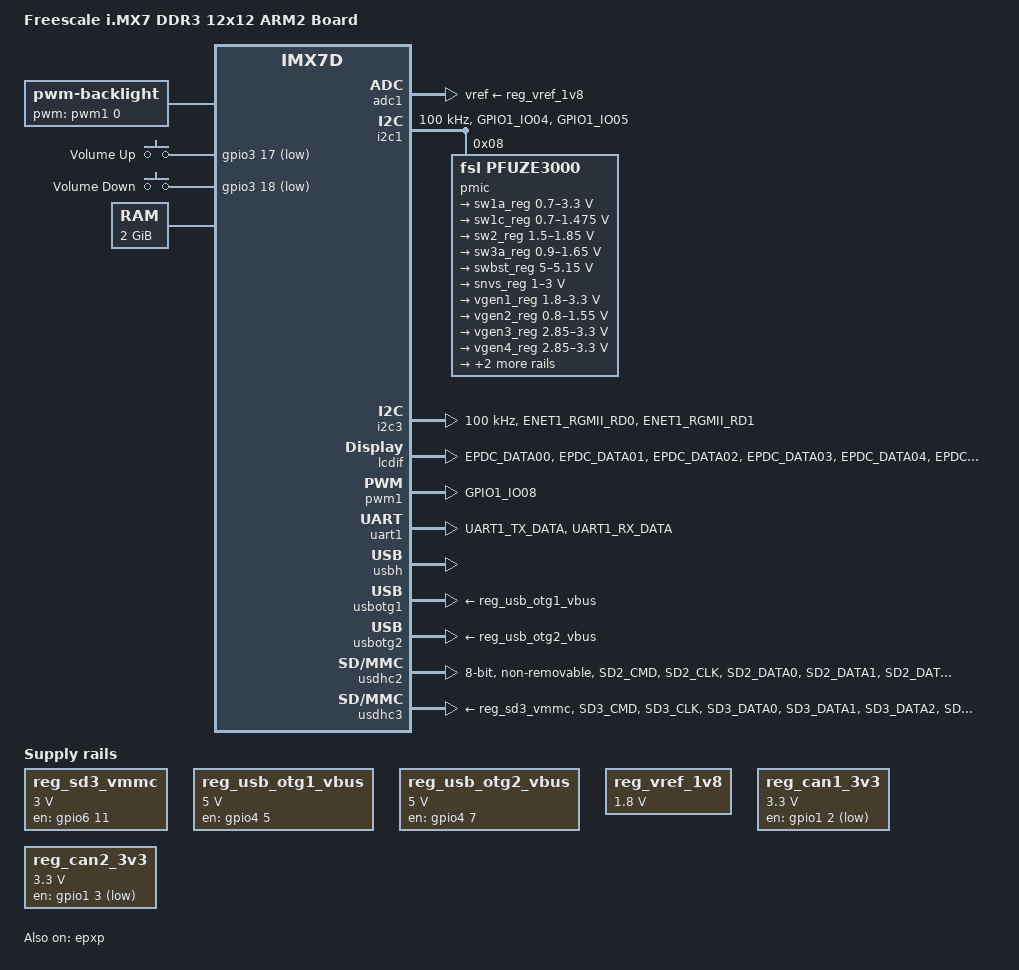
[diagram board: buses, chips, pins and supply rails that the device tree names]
/*
 * Copyright (C) 2015 Freescale Semiconductor, Inc.
 *
 * This program is free software; you can redistribute it and/or modify
 * it under the terms of the GNU General Public License version 2 as
 * published by the Free Software Foundation.
 */

/dts-v1/;

#include <dt-bindings/input/input.h>
#include "imx7d.dtsi"

/ {
	model = "Freescale i.MX7 DDR3 12x12 ARM2 Board";
	compatible = "fsl,imx7d-12x12-ddr3-arm2", "fsl,imx7d";

	backlight {
		compatible = "pwm-backlight";
		pwms = <&pwm1 0 5000000>;
		brightness-levels = <0 4 8 16 32 64 128 255>;
		default-brightness-level = <6>;
		status = "okay";
	};

	gpio-keys {
		compatible = "gpio-keys";
		pinctrl-names = "default";
		pinctrl-0 = <&pinctrl_gpio_keys>;

		volume-up {
			label = "Volume Up";
			gpios = <&gpio3 17 GPIO_ACTIVE_LOW>;
			linux,code = <KEY_VOLUMEUP>;
		};

		volume-down {
			label = "Volume Down";
			gpios = <&gpio3 18 GPIO_ACTIVE_LOW>;
			linux,code = <KEY_VOLUMEDOWN>;
		};
	};

	pxp_v4l2_out {
		compatible = "fsl,imx7d-pxp-v4l2", "fsl,imx6sx-pxp-v4l2", "fsl,imx6sl-pxp-v4l2";
		status = "okay";
	};

	regulators {
		compatible = "simple-bus";
		#address-cells = <1>;
		#size-cells = <0>;

		reg_sd3_vmmc: sd3_vmmc {
			compatible = "regulator-fixed";
			regulator-name = "VCC_SD3";
			regulator-min-microvolt = <3000000>;
			regulator-max-microvolt = <3000000>;
			gpio = <&gpio6 11 GPIO_ACTIVE_HIGH>;
			enable-active-high;
		};

		reg_usb_otg1_vbus: regulator@0 {
			compatible = "regulator-fixed";
			reg = <0>;
			regulator-name = "usb_otg1_vbus";
			regulator-min-microvolt = <5000000>;
			regulator-max-microvolt = <5000000>;
			gpio = <&gpio4 5 GPIO_ACTIVE_HIGH>;
			enable-active-high;
		};

		reg_usb_otg2_vbus: regulator@1 {
			compatible = "regulator-fixed";
			reg = <1>;
			regulator-name = "usb_otg2_vbus";
			regulator-min-microvolt = <5000000>;
			regulator-max-microvolt = <5000000>;
			gpio = <&gpio4 7 GPIO_ACTIVE_HIGH>;
			enable-active-high;
		};

		reg_vref_1v8: regulator@2 {
			compatible = "regulator-fixed";
			regulator-name = "vref-1v8";
			regulator-min-microvolt = <1800000>;
			regulator-max-microvolt = <1800000>;
		};

		reg_can1_3v3: can1-3v3 {
			compatible = "regulator-fixed";
			regulator-name = "can1-3v3";
			regulator-min-microvolt = <3300000>;
			regulator-max-microvolt = <3300000>;
			gpio = <&gpio1 2 GPIO_ACTIVE_LOW>;
		};

		reg_can2_3v3: can2-3v3 {
			compatible = "regulator-fixed";
			regulator-name = "can2-3v3";
			regulator-min-microvolt = <3300000>;
			regulator-max-microvolt = <3300000>;
			gpio = <&gpio1 3 GPIO_ACTIVE_LOW>;
		};
	};

	memory {
		reg = <0x80000000 0x80000000>;
	};
};

&adc1 {
	vref-supply = <&reg_vref_1v8>;
	status = "okay";
};

&cpu0 {
	arm-supply = <&sw1a_reg>;
};

&ecspi4 {
	fsl,spi-num-chipselects = <4>;
	cs-gpios = <&gpio5 3 0>, <&gpio5 4 0>, <&gpio5 5 0>, <&gpio5 6 0>;
	pinctrl-names = "default";
	pinctrl-0 = <&pinctrl_ecspi4_1 &pinctrl_ecspi4_cs_1>;
	status = "disabled";

	flash: m25p80@0 {
		#address-cells = <1>;
		#size-cells = <1>;
		compatible = "st,m25p32";
		spi-max-frequency = <20000000>;
		reg = <0>;
	};
};

&epxp {
	status = "okay";
};

&flexcan1 {
	pinctrl-names = "default";
	pinctrl-0 = <&pinctrl_flexcan1>;
	xceiver-supply = <&reg_can1_3v3>;
	status = "disabled";
};

&flexcan2 {
	pinctrl-names = "default";
	pinctrl-0 = <&pinctrl_flexcan2>;
	xceiver-supply = <&reg_can2_3v3>;
	status = "disabled";
};

&i2c1 {
	clock-frequency = <100000>;
	pinctrl-names = "default";
	pinctrl-0 = <&pinctrl_i2c1_1>;
	status = "okay";

	pmic: pfuze3000@08 {
		compatible = "fsl,pfuze3000";
		reg = <0x08>;

		regulators {
			sw1a_reg: sw1a {
				regulator-min-microvolt = <700000>;
				regulator-max-microvolt = <3300000>;
				regulator-boot-on;
				regulator-always-on;
				regulator-ramp-delay = <6250>;
			};
			/* use sw1c_reg to align with pfuze100/pfuze200 */
			sw1c_reg: sw1b {
				regulator-min-microvolt = <700000>;
				regulator-max-microvolt = <1475000>;
				regulator-boot-on;
				regulator-always-on;
				regulator-ramp-delay = <6250>;
			};

			sw2_reg: sw2 {
				regulator-min-microvolt = <1500000>;
				regulator-max-microvolt = <1850000>;
				regulator-boot-on;
				regulator-always-on;
			};

			sw3a_reg: sw3 {
				regulator-min-microvolt = <900000>;
				regulator-max-microvolt = <1650000>;
				regulator-boot-on;
				regulator-always-on;
			};

			swbst_reg: swbst {
				regulator-min-microvolt = <5000000>;
				regulator-max-microvolt = <5150000>;
			};

			snvs_reg: vsnvs {
				regulator-min-microvolt = <1000000>;
				regulator-max-microvolt = <3000000>;
				regulator-boot-on;
				regulator-always-on;
			};

			vref_reg: vrefddr {
				regulator-boot-on;
				regulator-always-on;
			};

			vgen1_reg: vldo1 {
				regulator-min-microvolt = <1800000>;
				regulator-max-microvolt = <3300000>;
				regulator-always-on;
			};

			vgen2_reg: vldo2 {
				regulator-min-microvolt = <800000>;
				regulator-max-microvolt = <1550000>;
			};

			vgen3_reg: vccsd {
				regulator-min-microvolt = <2850000>;
				regulator-max-microvolt = <3300000>;
				regulator-always-on;
			};

			vgen4_reg: v33 {
				regulator-min-microvolt = <2850000>;
				regulator-max-microvolt = <3300000>;
				regulator-always-on;
			};

			vgen5_reg: vldo3 {
				regulator-min-microvolt = <1800000>;
				regulator-max-microvolt = <3300000>;
				regulator-always-on;
			};

			vgen6_reg: vldo4 {
				regulator-min-microvolt = <1800000>;
				regulator-max-microvolt = <3300000>;
				regulator-always-on;
			};
		};
	};
};

&i2c3 {
	clock-frequency = <100000>;
	pinctrl-names = "default";
	pinctrl-0 = <&pinctrl_i2c3_1>;
	status = "okay";
};

&iomuxc {
	pinctrl-names = "default";
	pinctrl-0 = <&pinctrl_hog_1>;

	imx7d-12x12-ddr3-arm2 {
		pinctrl_hog_1: hoggrp-1 {
			fsl,pins = <
				MX7D_PAD_GPIO1_IO14__GPIO1_IO14 	0x59
				MX7D_PAD_GPIO1_IO15__GPIO1_IO15 	0x59
				MX7D_PAD_SD2_RESET_B__GPIO5_IO11 	0x59
			>;
		};

		pinctrl_ecspi4_cs_1: ecspi4_cs_grp-1 {
			fsl,pins = <
				MX7D_PAD_SD1_CLK__GPIO5_IO3 	0x2
				MX7D_PAD_SD1_CMD__GPIO5_IO4 	0x2
				MX7D_PAD_SD1_DATA0__GPIO5_IO5 	0x2
				MX7D_PAD_SD1_DATA1__GPIO5_IO6 	0x2
			>;
		};

		pinctrl_ecspi4_1: ecspi4grp-1 {
			fsl,pins = <
				MX7D_PAD_SD1_RESET_B__ECSPI4_SCLK 	0x2
				MX7D_PAD_SD1_WP__ECSPI4_MOSI 		0x2
				MX7D_PAD_SD1_CD_B__ECSPI4_MISO 	 	0x2
			>;
		};

		pinctrl_flexcan1: flexcan1grp {
			fsl,pins = <
				MX7D_PAD_SD3_DATA5__FLEXCAN1_TX 	0x59
				MX7D_PAD_SD3_DATA7__FLEXCAN1_RX 	0x59
			>;
		};

		pinctrl_flexcan2: flexcan2grp {
			fsl,pins = <
				MX7D_PAD_SD3_DATA6__FLEXCAN2_TX 	0x59
				MX7D_PAD_SD3_DATA4__FLEXCAN2_RX 	0x59
			>;
		};

		pinctrl_gpio_keys: gpio_keysgrp {
			fsl,pins = <
				MX7D_PAD_LCD_DATA12__GPIO3_IO17 0x32
				MX7D_PAD_LCD_DATA13__GPIO3_IO18 0x32
			>;
		};

		pinctrl_i2c3_1: i2c3grp-1 {
			fsl,pins = <
				MX7D_PAD_ENET1_RGMII_RD0__I2C3_SCL 0x4000007f
				MX7D_PAD_ENET1_RGMII_RD1__I2C3_SDA 0x4000007f
			>;
		};

		pinctrl_i2c4_1: i2c4grp-1 {
			fsl,pins = <
				MX7D_PAD_ENET1_RGMII_TD2__I2C4_SCL 0x4000007f
				MX7D_PAD_ENET1_RGMII_TD3__I2C4_SDA 0x4000007f
			>;
		};

		pinctrl_lcdif_dat: lcdifdatgrp {
			fsl,pins = <
				MX7D_PAD_EPDC_DATA00__LCD_DATA0  0x4001b0b0
				MX7D_PAD_EPDC_DATA01__LCD_DATA1  0x4001b0b0
				MX7D_PAD_EPDC_DATA02__LCD_DATA2  0x4001b0b0
				MX7D_PAD_EPDC_DATA03__LCD_DATA3  0x4001b0b0
				MX7D_PAD_EPDC_DATA04__LCD_DATA4  0x4001b0b0
				MX7D_PAD_EPDC_DATA05__LCD_DATA5  0x4001b0b0
				MX7D_PAD_EPDC_DATA06__LCD_DATA6  0x4001b0b0
				MX7D_PAD_EPDC_DATA07__LCD_DATA7  0x4001b0b0
				MX7D_PAD_EPDC_DATA08__LCD_DATA8  0x4001b0b0
				MX7D_PAD_EPDC_DATA09__LCD_DATA9  0x4001b0b0
				MX7D_PAD_EPDC_DATA10__LCD_DATA10 0x4001b0b0
				MX7D_PAD_EPDC_DATA11__LCD_DATA11 0x4001b0b0
				MX7D_PAD_EPDC_DATA12__LCD_DATA12 0x4001b0b0
				MX7D_PAD_EPDC_DATA13__LCD_DATA13 0x4001b0b0
				MX7D_PAD_EPDC_DATA14__LCD_DATA14 0x4001b0b0
				MX7D_PAD_EPDC_DATA15__LCD_DATA15 0x4001b0b0
				MX7D_PAD_EPDC_SDLE__LCD_DATA16   0x4001b0b0
				MX7D_PAD_EPDC_SDOE__LCD_DATA17   0x4001b0b0
				MX7D_PAD_EPDC_SDSHR__LCD_DATA18  0x4001b0b0
				MX7D_PAD_EPDC_SDCE0__LCD_DATA19  0x4001b0b0
				MX7D_PAD_EPDC_SDCE1__LCD_DATA20  0x4001b0b0
				MX7D_PAD_EPDC_SDCE2__LCD_DATA21  0x4001b0b0
				MX7D_PAD_EPDC_SDCE3__LCD_DATA22  0x4001b0b0
				MX7D_PAD_EPDC_GDCLK__LCD_DATA23  0x4001b0b0
			>;
		};

		pinctrl_lcdif_ctrl: lcdifctrlgrp {
			fsl,pins = <
				MX7D_PAD_EPDC_SDCLK__LCD_CLK 		0x4001b0b0
				MX7D_PAD_EPDC_BDR1__LCD_ENABLE 		0x4001b0b0
				MX7D_PAD_EPDC_PWR_STAT__LCD_VSYNC 	0x4001b0b0
				MX7D_PAD_EPDC_PWR_COM__LCD_HSYNC 	0x4001b0b0
			>;
		};

		pinctrl_pwm1: pwm1grp {
			fsl,pins = <
				MX7D_PAD_GPIO1_IO08__PWM1_OUT 0x110b0
			>;
		};

		pinctrl_uart1_1: uart1grp-1 {
			fsl,pins = <
				MX7D_PAD_UART1_TX_DATA__UART1_DCE_TX 0x79
				MX7D_PAD_UART1_RX_DATA__UART1_DCE_RX 0x79
			>;
		};

		pinctrl_usdhc2_1: usdhc2grp-1 {
			fsl,pins = <
				MX7D_PAD_SD2_CMD__SD2_CMD     	0x59
				MX7D_PAD_SD2_CLK__SD2_CLK     	0x19
				MX7D_PAD_SD2_DATA0__SD2_DATA0 	0x59
				MX7D_PAD_SD2_DATA1__SD2_DATA1 	0x59
				MX7D_PAD_SD2_DATA2__SD2_DATA2 	0x59
				MX7D_PAD_SD2_DATA3__SD2_DATA3 	0x59
				MX7D_PAD_ECSPI1_SCLK__SD2_DATA4 0x59
				MX7D_PAD_ECSPI1_MOSI__SD2_DATA5 0x59
				MX7D_PAD_ECSPI1_MISO__SD2_DATA6 0x59
				MX7D_PAD_ECSPI1_SS0__SD2_DATA7 	0x59
			>;
		};

		pinctrl_usdhc2_1_100mhz: usdhc2grp-1_100mhz {
			fsl,pins = <
				MX7D_PAD_SD2_CMD__SD2_CMD     	0x5a
				MX7D_PAD_SD2_CLK__SD2_CLK     	0x1a
				MX7D_PAD_SD2_DATA0__SD2_DATA0 	0x5a
				MX7D_PAD_SD2_DATA1__SD2_DATA1 	0x5a
				MX7D_PAD_SD2_DATA2__SD2_DATA2 	0x5a
				MX7D_PAD_SD2_DATA3__SD2_DATA3 	0x5a
				MX7D_PAD_ECSPI1_SCLK__SD2_DATA4 0x5a
				MX7D_PAD_ECSPI1_MOSI__SD2_DATA5 0x5a
				MX7D_PAD_ECSPI1_MISO__SD2_DATA6 0x5a
				MX7D_PAD_ECSPI1_SS0__SD2_DATA7 	0x5a
			>;
		};

		pinctrl_usdhc2_1_200mhz: usdhc2grp-1_200mhz {
			fsl,pins = <
				MX7D_PAD_SD2_CMD__SD2_CMD     	0x5b
				MX7D_PAD_SD2_CLK__SD2_CLK     	0x1b
				MX7D_PAD_SD2_DATA0__SD2_DATA0 	0x5b
				MX7D_PAD_SD2_DATA1__SD2_DATA1 	0x5b
				MX7D_PAD_SD2_DATA2__SD2_DATA2 	0x5b
				MX7D_PAD_SD2_DATA3__SD2_DATA3 	0x5b
				MX7D_PAD_ECSPI1_SCLK__SD2_DATA4 0x5b
				MX7D_PAD_ECSPI1_MOSI__SD2_DATA5 0x5b
				MX7D_PAD_ECSPI1_MISO__SD2_DATA6 0x5b
				MX7D_PAD_ECSPI1_SS0__SD2_DATA7 	0x5b
			>;
		};

		pinctrl_usdhc3_1: usdhc3grp-1 {
			fsl,pins = <
				MX7D_PAD_SD3_CMD__SD3_CMD	    0x59
				MX7D_PAD_SD3_CLK__SD3_CLK	    0x19
				MX7D_PAD_SD3_DATA0__SD3_DATA0   0x59
				MX7D_PAD_SD3_DATA1__SD3_DATA1   0x59
				MX7D_PAD_SD3_DATA2__SD3_DATA2   0x59
				MX7D_PAD_SD3_DATA3__SD3_DATA3   0x59
			>;
		};
	};
};

&iomuxc_lpsr {
	pinctrl-names = "default";
	pinctrl-0 = <&pinctrl_hog_2>;

	imx7d-12x12-ddr3-arm2 {
		pinctrl_hog_2: hoggrp-2 {
			fsl,pins = <
				MX7D_PAD_GPIO1_IO02__GPIO1_IO2 	0x59 /* flexcan stby1 */
				MX7D_PAD_GPIO1_IO03__GPIO1_IO3  0x59 /* flexcan stby2 */
				MX7D_PAD_GPIO1_IO01__ANATOP_24M_OUT 0x80000000
			>;
		};

		pinctrl_i2c1_1: i2c1grp-1 {
			fsl,pins = <
				MX7D_PAD_GPIO1_IO04__I2C1_SCL 	0x4000007f
				MX7D_PAD_GPIO1_IO05__I2C1_SDA   0x4000007f
			>;
		};

		pinctrl_i2c2_1: i2c2grp-1 {
			fsl,pins = <
				MX7D_PAD_GPIO1_IO06__I2C2_SCL 	0x4000007f
				MX7D_PAD_GPIO1_IO07__I2C2_SDA 	0x4000007f
			>;
		};
	};
};

&lcdif {
	pinctrl-names = "default";
	pinctrl-0 = <&pinctrl_lcdif_dat
		     &pinctrl_lcdif_ctrl>;
	display = <&display0>;
	status = "okay";

	display0: display {
		bits-per-pixel = <16>;
		bus-width = <24>;

		display-timings {
			native-mode = <&timing0>;
			timing0: timing0 {
				clock-frequency = <33500000>;
				hactive = <800>;
				vactive = <480>;
				hback-porch = <89>;
				hfront-porch = <164>;
				vback-porch = <23>;
				vfront-porch = <10>;
				hsync-len = <10>;
				vsync-len = <10>;
				hsync-active = <0>;
				vsync-active = <0>;
				de-active = <1>;
				pixelclk-active = <0>;
			};
		};
	};
};

&sdma {
	status = "okay";
};

&pcie {
	pinctrl-names = "default";
	status = "disabled";
};

&pwm1 {
	pinctrl-names = "default";
	pinctrl-0 = <&pinctrl_pwm1>;
	status = "okay";
};

&uart1 {
	pinctrl-names = "default";
	pinctrl-0 = <&pinctrl_uart1_1>;
	status = "okay";
};

&usbh {
	status = "okay";
};

&usbotg1 {
	vbus-supply = <&reg_usb_otg1_vbus>;
	srp-disable;
	hnp-disable;
	adp-disable;
	status = "okay";
};

&usbotg2 {
	vbus-supply = <&reg_usb_otg2_vbus>;
	srp-disable;
	hnp-disable;
	adp-disable;
	status = "okay";
};

&usdhc2 {
	pinctrl-names = "default", "state_100mhz", "state_200mhz";
	pinctrl-0 = <&pinctrl_usdhc2_1>;
	pinctrl-1 = <&pinctrl_usdhc2_1_100mhz>;
	pinctrl-2 = <&pinctrl_usdhc2_1_200mhz>;
	assigned-clocks = <&clks IMX7D_USDHC2_ROOT_CLK>;
	assigned-clocks-rates = <400000000>;
	bus-width = <8>;
	tuning-step = <2>;
	non-removable;
	keep-power-in-suspend;
	status = "okay";
};

&usdhc3 {
	pinctrl-names = "default";
	pinctrl-0 = <&pinctrl_usdhc3_1>;
	vmmc-supply = <&reg_sd3_vmmc>;
	cd-gpios = <&gpio1 14>;
	wp-gpios = <&gpio1 15>;
	keep-power-in-suspend;
	enable-sdio-wakeup;
	no-1-8-v;
	status = "okay";
};
